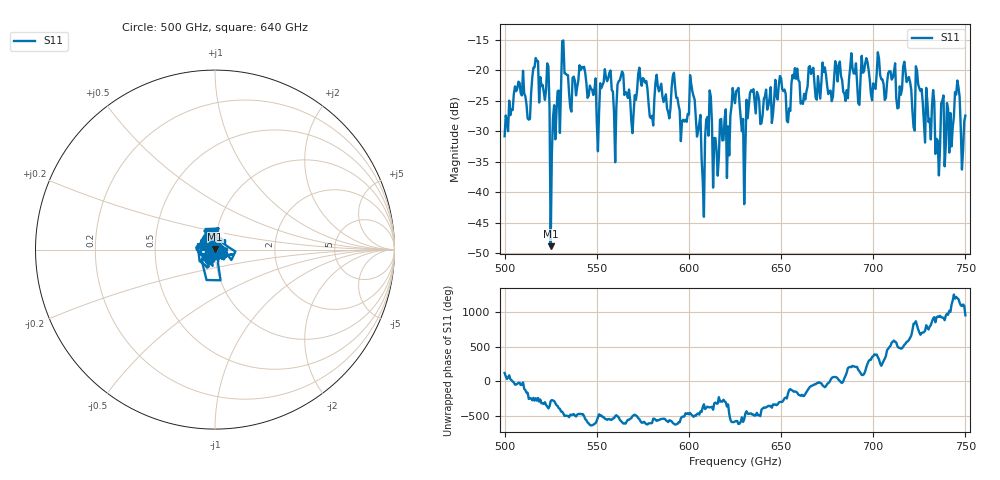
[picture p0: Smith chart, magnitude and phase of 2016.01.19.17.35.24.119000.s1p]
!Created with skrf (http://scikit-rf.org).
# GHz S RI R 50.0
!freq ReS11 ImS11
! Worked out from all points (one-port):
!   401 points, 500 GHz to 750 GHz, reference 50 ohm
!   lowest |S11| = -48.9 dB at 525 GHz (marker M1), VSWR 1.01, Z = 50.1 + j0.346 ohm
!   |S11| at or under -10 dB: start of sweep to end of sweep
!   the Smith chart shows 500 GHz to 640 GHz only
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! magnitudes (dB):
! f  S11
! 500 GHz  -30.8
! 506.9 GHz  -23.0
! 513.1 GHz  -28.1
! 516.9 GHz  -18.0
! 523.1 GHz  -18.9
! 525 GHz  -48.9
! 531.2 GHz  -15.2
! 551.2 GHz  -26.9
! 556.2 GHz  -21.3
! 559.4 GHz  -27.0
! 562.5 GHz  -21.7
! 569.4 GHz  -30.3
! 573.8 GHz  -21.6
! 579.4 GHz  -27.9
! 593.8 GHz  -24.5
! 601.9 GHz  -23.5
! 608.1 GHz  -44.1
! 610.6 GHz  -30.7
! 614.4 GHz  -31.1
! 625 GHz  -25.4
! 629.4 GHz  -28.0
! 633.8 GHz  -23.3
! 656.2 GHz  -20.7
! 687.5 GHz  -19.5
! 718.8 GHz  -21.5
! 735 GHz  -31.5
! 745.6 GHz  -21.7
! 750 GHz  -27.4
